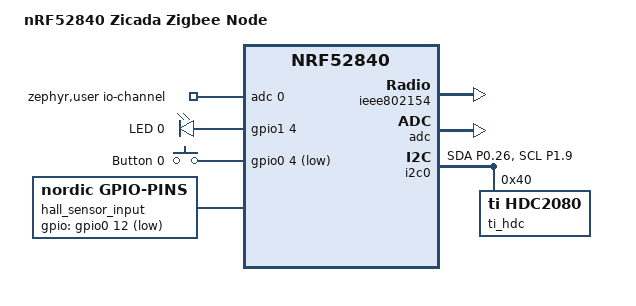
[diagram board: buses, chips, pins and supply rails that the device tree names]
// Copyright (c) 2024 Nordic Semiconductor ASA
// SPDX-License-Identifier: Apache-2.0

/dts-v1/;
#include <nordic/nrf52840_qiaa.dtsi>
#include "nrf52_zicada_rev1-pinctrl.dtsi"
#include <zephyr/dt-bindings/input/input-event-codes.h>

/ {
	model = "nRF52840 Zicada Zigbee Node";
	compatible = "nrf52_zicada_rev1";

	chosen {
		zephyr,sram = &sram0;
		zephyr,flash = &flash0;
		zephyr,ieee802154 = &ieee802154;
	};

	zephyr,user {
		io-channels = <&adc 0>;
	};

	leds {
		compatible = "gpio-leds";
		led0: led_0 {
			gpios = <&gpio1 4 GPIO_ACTIVE_HIGH>;
			label = "LED 0";
		};
		compatible = "gpio-leds";
	};

	buttons {
		compatible = "gpio-keys";
		button0: button_0 {
			gpios = <&gpio0 4 (GPIO_ACTIVE_LOW | GPIO_PULL_UP)>;
			label = "Button 0";
			zephyr,code = <INPUT_KEY_0>;
		};
	};

	hall_sensor_input: hall-sensor-input {
		compatible = "nordic,gpio-pins";
		gpios = <&gpio0 12 (GPIO_ACTIVE_LOW)>;
		status = "okay";
	};

	aliases {
		led0 = &led0;
		button0 = &button0;
		watchdog0 = &wdt0;
	};
};

&uicr {
	gpio-as-nreset;
};

&gpiote {
	status = "okay";
};

&gpio0 {
	status = "okay";
};

&gpio1 {
	status = "okay";
};

&ieee802154 {
        status = "okay";
};

&adc {
	status = "okay";
};

&nfct {
	status = "disabled";
};

&i2c0 {
	ti_hdc: hdc2080@40 {
		compatible = "ti,hdc2080";
		status = "ok";
		reg = <0x40>;
		//int-gpios = <&gpio0 8 (GPIO_ACTIVE_LOW | GPIO_PULL_UP)>;
	};

	status = "okay";
	pinctrl-0 = <&i2c0_default>;
	pinctrl-names = "default";
};

&pinctrl {
	i2c0_default: i2c0_default {
		group1 {
			psels = <NRF_PSEL(TWIM_SDA, 0, 26)>, <NRF_PSEL(TWIM_SCL, 1, 9)>;
		};
	};
};
